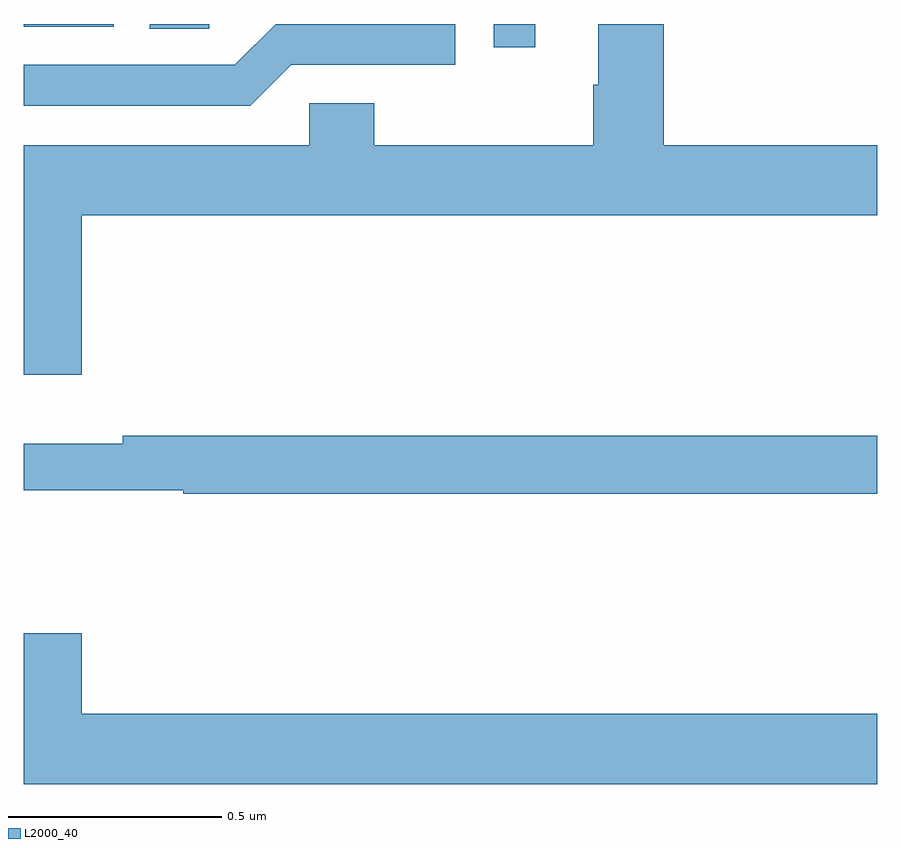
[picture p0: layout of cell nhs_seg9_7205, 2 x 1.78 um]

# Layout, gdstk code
import gdstk
lib = gdstk.Library(unit=1e-6, precision=1e-09)
def R(c, l, rs):  # rectangles x0, y0, x1, y1
    for r in rs: c.add(gdstk.rectangle(r[:2], r[2:], *l))
def P(c, l, *ps):  # polygons
    for p in ps: c.add(gdstk.Polygon(p, *l))
L2000_40 = (2000, 40)

nhs_seg9_7205 = lib.new_cell('nhs_seg9_7205')
R(nhs_seg9_7205, L2000_40, [(202.101,1231.446,202.198,1231.5), (201.296,1231.489,201.435,1231.5), (201,1231.493,201.211,1231.5)])
P(nhs_seg9_7205, L2000_40, [(201.136,1231.052),(203,1231.052),(203,1231.216),(202.499,1231.216),(202.499,1231.5),(202.346,1231.5),(202.346,1231.358),(202.334,1231.358),(202.334,1231.216),(201.821,1231.216),(201.821,1231.314),(201.669,1231.314),(201.669,1231.216),(201,1231.216),(201,1230.678),(201.136,1230.678)],
  [(201.627,1231.404),(202.011,1231.404),(202.011,1231.5),(201.591,1231.5),(201.495,1231.404),(201,1231.404),(201,1231.308),(201.531,1231.308)],
  [(203,1230.536),(201.232,1230.536),(201.232,1230.517),(201,1230.517),(201,1230.408),(201.374,1230.408),(201.374,1230.4),(203,1230.4)],
  [(203,1229.884),(201.136,1229.884),(201.136,1230.073),(201,1230.073),(201,1229.72),(203,1229.72)])

lib.write_gds('nhs_seg9_7205.gds')
